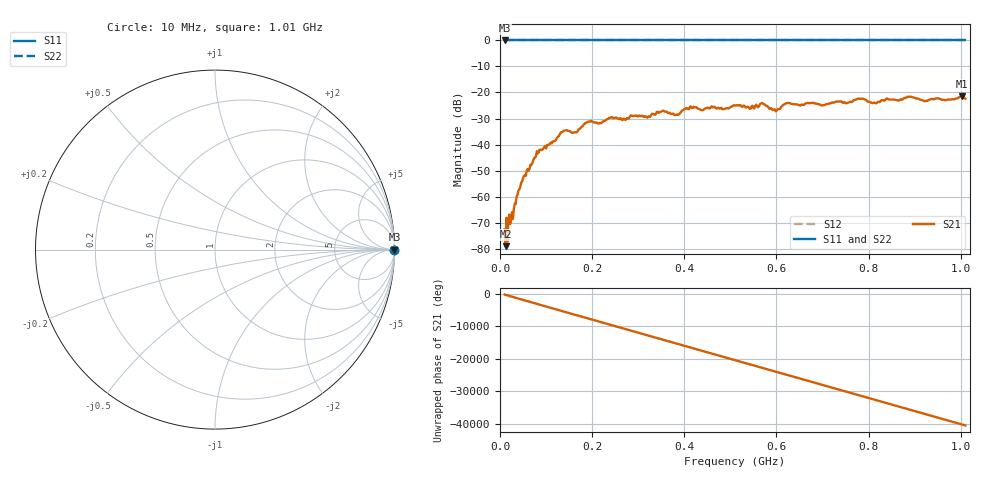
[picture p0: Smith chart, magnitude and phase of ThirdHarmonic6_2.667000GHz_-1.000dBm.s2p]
! 8/17/2025 6:11:11 AM
! C:\ANRITSUVNA\TEMP\TEMP.S2P
! CHANNEL.1
! TR.MEASUREMENT
! RAW.DATA
! RF.CORRECTION.OFF
! AVERAGING.OFF
! IF.BANDWIDTH: 5KHZ
! SWEEPTYPE:  FREQ.SWEEP(Linear)
! Reference Plane Port Info
! PORT:  PORT1  PORT2
! DISTANCE:  0  m  0  m
! TIME:  0  s  0  s
! PHASE.OFFSET:  0  deg.  0  deg.
! LOSS:  0  dB  0  dB
! REF.LOSS:  0  dB  0  dB
! REF.FREQ:  0  Hz  0  Hz
! Power Info
! POWER:  -20  dBm  -20  dBm
! EFF.POWER:  -20  dBm  -20  dBm
! SOURCE.ATTEN:  0  dB  0  dB
! TEST.ATTEN:  0  dB  0  dB
# GHZ S RI R 50.0
! FREQ.GHZ  S11RE  S11IM  S21RE  S21IM  S12RE  S12IM  S22RE  S22IM
!; PortSelection: Port_12
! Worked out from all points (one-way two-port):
!   501 points, 10 MHz to 1.01 GHz, reference 50 ohm
!   highest |S21| = -21.54 dB at 1.002 GHz (marker M1); lowest = -79.1 dB at 12 MHz (marker M2)
!   lowest |S11| = 0.0 dB at 10 MHz (marker M3)
!   |S11| at or under -10 dB: nowhere
!   |S22| runs from 0.0 to 0.0 dB; largest |S21 - S12| = 1.1
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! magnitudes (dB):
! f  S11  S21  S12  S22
! 10 MHz  0.0  -72.6  0.0  0.0
! 12 MHz  0.0  -79.1  0.0  0.0
! 26 MHz  0.0  -66.0  0.0  0.0
! 50 MHz  0.0  -52.9  0.0  0.0
! 84 MHz  0.0  -43.0  0.0  0.0
! 136 MHz  0.0  -35.1  0.0  0.0
! 162 MHz  0.0  -35.3  0.0  0.0
! 178 MHz  0.0  -33.1  0.0  0.0
! 194 MHz  0.0  -31.1  0.0  0.0
! 322 MHz  0.0  -29.2  0.0  0.0
! 344 MHz  0.0  -27.8  0.0  0.0
! 384 MHz  0.0  -28.5  0.0  0.0
! 416 MHz  0.0  -25.9  0.0  0.0
! 510 MHz  0.0  -25.0  0.0  0.0
! 540 MHz  0.0  -25.8  0.0  0.0
! 570 MHz  0.0  -24.2  0.0  0.0
! 596 MHz  0.0  -26.4  0.0  0.0
! 624 MHz  0.0  -24.0  0.0  0.0
! 678 MHz  0.0  -24.0  0.0  0.0
! 844 MHz  0.0  -22.7  0.0  0.0
! 1.002 GHz  0.0  -21.5  0.0  0.0
! 1.01 GHz  0.0  -22.4  0.0  0.0
